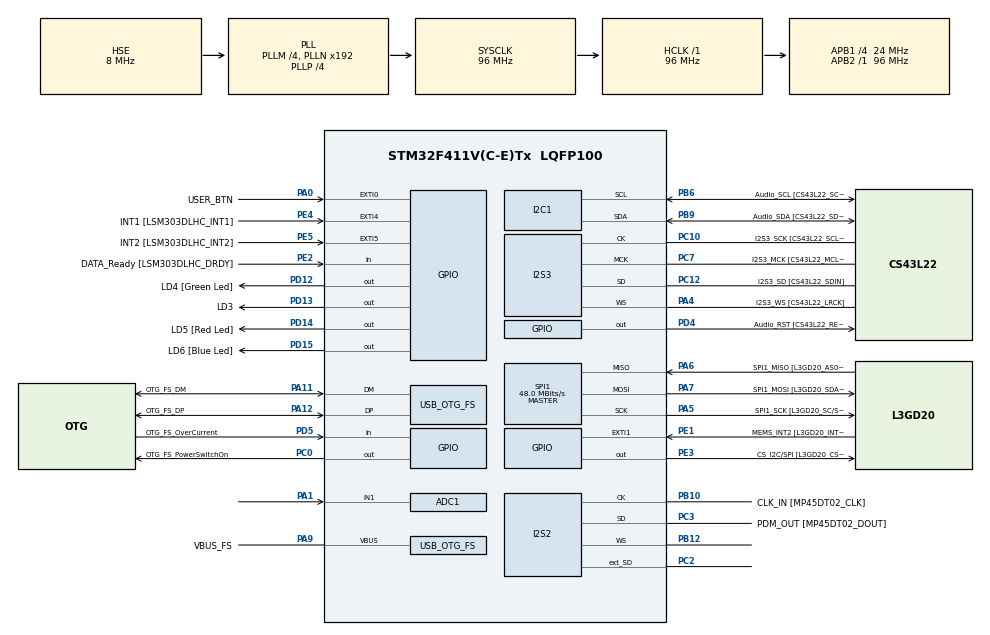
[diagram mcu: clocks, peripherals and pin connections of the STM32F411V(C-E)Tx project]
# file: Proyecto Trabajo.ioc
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ADC1.Channel-0\#ChannelRegularConversion=ADC_CHANNEL_1
ADC1.NbrOfConversionFlag=1
ADC1.Rank-0\#ChannelRegularConversion=1
ADC1.SamplingTime-0\#ChannelRegularConversion=ADC_SAMPLETIME_3CYCLES
ADC1.master=1
Dma.Request0=SPI3_TX
Dma.SPI3_TX.0.Direction=DMA_MEMORY_TO_PERIPH
Dma.SPI3_TX.0.FIFOMode=DMA_FIFOMODE_ENABLE
Dma.SPI3_TX.0.FIFOThreshold=DMA_FIFO_THRESHOLD_FULL
Dma.SPI3_TX.0.Instance=DMA1_Stream5
Dma.SPI3_TX.0.MemBurst=DMA_MBURST_SINGLE
Dma.SPI3_TX.0.MemDataAlignment=DMA_MDATAALIGN_HALFWORD
Dma.SPI3_TX.0.MemInc=DMA_MINC_ENABLE
Dma.SPI3_TX.0.Mode=DMA_CIRCULAR
Dma.SPI3_TX.0.PeriphBurst=DMA_PBURST_SINGLE
Dma.SPI3_TX.0.PeriphDataAlignment=DMA_PDATAALIGN_HALFWORD
Dma.SPI3_TX.0.PeriphInc=DMA_PINC_DISABLE
Dma.SPI3_TX.0.Priority=DMA_PRIORITY_LOW
I2C1.I2C_Mode=I2C_Fast
I2S2.AudioFreq=I2S_AUDIOFREQ_96K
I2S2.ErrorAudioFreq=0.15 %
I2S2.FullDuplexMode=I2S_FULLDUPLEXMODE_ENABLE
I2S2.Instance=SPI$Index
I2S2.RealAudioFreq=96.153 KHz
I2S2.VirtualMode=I2S_MODE_MASTER
I2S3.AudioFreq=I2S_AUDIOFREQ_48K
I2S3.ErrorAudioFreq=0.15 %
I2S3.FullDuplexMode=I2S_FULLDUPLEXMODE_DISABLE
I2S3.Instance=SPI$Index
I2S3.RealAudioFreq=48.076 KHz
I2S3.VirtualMode=I2S_MODE_MASTER
Mcu.Family=STM32F4
Mcu.Name=STM32F411V(C-E)Tx
Mcu.Package=LQFP100
NVIC.DMA1_Stream5_IRQn=true\:0\:0\:false\:false\:true\:false\:true\:true
NVIC.EXTI0_IRQn=true\:0\:0\:false\:false\:true\:true\:true\:true
NVIC.OTG_FS_IRQn=true\:0\:0\:false\:false\:true\:true\:true\:true
NVIC.PriorityGroup=NVIC_PRIORITYGROUP_0
NVIC.TIM1_BRK_TIM9_IRQn=true\:0\:0\:false\:false\:true\:true\:true\:true
NVIC.TIM1_CC_IRQn=true\:0\:0\:false\:false\:true\:true\:true\:true
NVIC.TIM1_TRG_COM_TIM11_IRQn=true\:0\:0\:false\:false\:true\:true\:true\:true
NVIC.TIM1_UP_TIM10_IRQn=true\:0\:0\:false\:false\:true\:true\:true\:true
PA0-WKUP.GPIO_Label=USER_BTN
PA0-WKUP.GPIO_ModeDefaultEXTI=GPIO_MODE_IT_RISING
PA0-WKUP.Signal=GPXTI0
PA1.Signal=ADCx_IN1
PA10.GPIO_Label=OTG_FS_ID
PA10.Signal=USB_OTG_FS_ID
PA11.GPIO_Label=OTG_FS_DM
PA11.Mode=Host_Only
PA11.Signal=USB_OTG_FS_DM
PA12.GPIO_Label=OTG_FS_DP
PA12.Mode=Host_Only
PA12.Signal=USB_OTG_FS_DP
PA13.GPIO_Label=SWDIO
PA13.Mode=Serial_Wire
PA13.Signal=SYS_JTMS-SWDIO
PA14.GPIO_Label=SWCLK
PA14.Mode=Serial_Wire
PA14.Signal=SYS_JTCK-SWCLK
PA4.GPIO_Label=I2S3_WS [CS43L22_LRCK]
PA4.GPIO_Mode=GPIO_MODE_AF_PP
PA4.GPIO_PuPd=GPIO_NOPULL
PA4.GPIO_Speed=GPIO_SPEED_FREQ_LOW
PA4.Mode=Half_Duplex_Master
PA4.Signal=I2S3_WS
PA5.GPIO_Label=SPI1_SCK [L3GD20_SC/SPC]
PA5.Mode=Full_Duplex_Master
PA5.Signal=SPI1_SCK
PA6.GPIO_Label=SPI1_MISO [L3GD20_AS0/SDO]
PA6.Mode=Full_Duplex_Master
PA6.Signal=SPI1_MISO
PA7.GPIO_Label=SPI1_MOSI [L3GD20_SDA/SDI/SDO]
PA7.Mode=Full_Duplex_Master
PA7.Signal=SPI1_MOSI
PA9.GPIO_Label=VBUS_FS
PA9.Mode=Activate_VBUS
PA9.Signal=USB_OTG_FS_VBUS
PB10.GPIO_Label=CLK_IN [MP45DT02_CLK]
PB10.Mode=Full_Duplex_Master
PB10.Signal=I2S2_CK
PB12.Mode=Full_Duplex_Master
PB12.Signal=I2S2_WS
PB3.GPIO_Label=SWO
PB3.Signal=SYS_JTDO-SWO
PB6.GPIO_Label=Audio_SCL [CS43L22_SCL]
PB6.GPIO_Mode=GPIO_MODE_AF_OD
PB6.GPIO_Pu=GPIO_PULLUP
PB6.GPIO_PuPd=GPIO_NOPULL
PB6.GPIO_Speed=GPIO_SPEED_FREQ_LOW
PB6.Mode=I2C
PB6.Signal=I2C1_SCL
PB9.GPIO_Label=Audio_SDA [CS43L22_SDA]
PB9.GPIO_Mode=GPIO_MODE_AF_OD
PB9.GPIO_Pu=GPIO_PULLUP
PB9.GPIO_PuPd=GPIO_NOPULL
PB9.GPIO_Speed=GPIO_SPEED_FREQ_LOW
PB9.Mode=I2C
PB9.Signal=I2C1_SDA
PC0.GPIO_Label=OTG_FS_PowerSwitchOn
PC0.PinState=GPIO_PIN_SET
PC0.Signal=GPIO_Output
PC10.GPIO_Label=I2S3_SCK [CS43L22_SCLK]
PC10.GPIO_Mode=GPIO_MODE_AF_PP
PC10.GPIO_PuPd=GPIO_NOPULL
PC10.GPIO_Speed=GPIO_SPEED_FREQ_LOW
PC10.Mode=Half_Duplex_Master
PC10.Signal=I2S3_CK
PC12.GPIO_Label=I2S3_SD [CS43L22_SDIN]
PC12.GPIO_Mode=GPIO_MODE_AF_PP
PC12.GPIO_PuPd=GPIO_NOPULL
PC12.GPIO_Speed=GPIO_SPEED_FREQ_LOW
PC12.Mode=Half_Duplex_Master
PC12.Signal=I2S3_SD
PC14-OSC32_IN.GPIO_Label=PC14-OSC32_IN
PC14-OSC32_IN.Signal=RCC_OSC32_IN
PC15-OSC32_OUT.GPIO_Label=PC15-OSC32_OUT
PC15-OSC32_OUT.Signal=RCC_OSC32_OUT
PC2.Mode=Full_Duplex_Master
PC2.Signal=I2S2_ext_SD
PC3.GPIO_Label=PDM_OUT [MP45DT02_DOUT]
PC3.Mode=Full_Duplex_Master
PC3.Signal=I2S2_SD
PC7.GPIO_Label=I2S3_MCK [CS43L22_MCLK]
PC7.GPIO_Mode=GPIO_MODE_AF_PP
PC7.GPIO_PuPd=GPIO_NOPULL
PC7.GPIO_Speed=GPIO_SPEED_FREQ_LOW
PC7.Mode=Master_Clock_Activated
PC7.Signal=I2S3_MCK
PD12.GPIO_Label=LD4 [Green Led]
PD12.GPIO_PuPd=GPIO_NOPULL
PD12.GPIO_Speed=GPIO_SPEED_FREQ_LOW
PD12.Signal=GPIO_Output
PD13.GPIO_Label=LD3
PD13.GPIO_PuPd=GPIO_NOPULL
PD13.GPIO_Speed=GPIO_SPEED_FREQ_LOW
PD13.Signal=GPIO_Output
PD14.GPIO_Label=LD5 [Red Led]
PD14.GPIO_PuPd=GPIO_NOPULL
PD14.GPIO_Speed=GPIO_SPEED_FREQ_LOW
PD14.Signal=GPIO_Output
PD15.GPIO_Label=LD6 [Blue Led]
PD15.GPIO_PuPd=GPIO_NOPULL
PD15.GPIO_Speed=GPIO_SPEED_FREQ_LOW
PD15.Signal=GPIO_Output
PD4.GPIO_Label=Audio_RST [CS43L22_RESET]
PD4.Signal=GPIO_Output
PD5.GPIO_Label=OTG_FS_OverCurrent
PD5.Signal=GPIO_Input
PE1.GPIO_Label=MEMS_INT2 [L3GD20_INT2]
PE1.GPIO_ModeDefaultEXTI=GPIO_MODE_EVT_RISING
PE1.Signal=GPXTI1
PE2.GPIO_Label=DATA_Ready [LSM303DLHC_DRDY]
PE2.Signal=GPIO_Input
PE3.GPIO_Label=CS_I2C/SPI [L3GD20_CS_I2C/SPI]
PE3.Signal=GPIO_Output
PE4.GPIO_Label=INT1 [LSM303DLHC_INT1]
PE4.GPIO_ModeDefaultEXTI=GPIO_MODE_EVT_RISING
PE4.Signal=GPXTI4
PE5.GPIO_Label=INT2 [LSM303DLHC_INT2]
PE5.GPIO_ModeDefaultEXTI=GPIO_MODE_EVT_RISING
PE5.Signal=GPXTI5
PH0\ -\ OSC_IN.GPIO_Label=PH0-OSC_IN
PH0\ -\ OSC_IN.Mode=HSE-External-Oscillator
PH0\ -\ OSC_IN.Signal=RCC_OSC_IN
PH1\ -\ OSC_OUT.GPIO_Label=PH1-OSC_OUT
PH1\ -\ OSC_OUT.Mode=HSE-External-Oscillator
PH1\ -\ OSC_OUT.Signal=RCC_OSC_OUT
ProjectManager.HeapSize=0x200
ProjectManager.StackSize=0x400
ProjectManager.TargetToolchain=STM32CubeIDE
RCC.48MHZClocksFreq_Value=48000000
RCC.AHBFreq_Value=96000000
RCC.APB1CLKDivider=RCC_HCLK_DIV4
RCC.APB1Freq_Value=24000000
RCC.APB1TimFreq_Value=48000000
RCC.APB2Freq_Value=96000000
RCC.APB2TimFreq_Value=96000000
RCC.CortexFreq_Value=96000000
RCC.HCLKFreq_Value=96000000
RCC.HSE_VALUE=8000000
RCC.HSI_VALUE=16000000
RCC.LSE_VALUE=32768
RCC.PLLI2SM=5
RCC.PLLI2SN=200
RCC.PLLM=4
RCC.PLLP=RCC_PLLP_DIV4
RCC.PLLQ=8
RCC.SYSCLKFreq_VALUE=96000000
RCC.SYSCLKSource=RCC_SYSCLKSOURCE_PLLCLK
RCC.VCOOutputFreq_Value=384000000
SH.ADCx_IN1.0=ADC1_IN1,IN1
SPI1.BaudRatePrescaler=SPI_BAUDRATEPRESCALER_2
SPI1.CalculateBaudRate=48.0 MBits/s
SPI1.Direction=SPI_DIRECTION_2LINES
SPI1.Mode=SPI_MODE_MASTER
SPI1.VirtualType=VM_MASTER
TIM1.Period=50
TIM1.Prescaler=32000
USB_HOST.BSP.number=1
USB_HOST.USBH_HandleTypeDef=hUsbHostFS
USB_HOST.VirtualModeFS=Msc
USB_HOST0.BSP.STBoard=false
USB_HOST0.BSP.api=Unknown
USB_HOST0.BSP.instance=PC0
USB_HOST0.BSP.ip=GPIO
USB_HOST0.BSP.mode=Output
USB_HOST0.BSP.name=Drive_VBUS_FS
USB_HOST0.BSP.solution=PC0
USB_OTG_FS.VirtualMode=Host_Only
USB_OTG_FS.phy_itface=HCD_PHY_EMBEDDED
VP_CRC_VS_CRC.Mode=CRC_Activate
VP_FATFS_VS_USB.Mode=USB
VP_TIM1_VS_ClockSourceINT.Mode=Internal
VP_USB_HOST_VS_USB_HOST_MSC_FS.Mode=MSC_FS
board=STM32F411E-DISCO

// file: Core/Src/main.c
/* USER CODE BEGIN Header */
/**
  ******************************************************************************
  * @file           : main.c
  * @brief          : Main program body
  ******************************************************************************
  * @attention
  *
  * Copyright (c) 2024 STMicroelectronics.
  * All rights reserved.
  *
  * This software is licensed under terms that can be found in the LICENSE file
  * in the root directory of this software component.
  * If no LICENSE file comes with this software, it is provided AS-IS.
  *
  ******************************************************************************
  */
/* USER CODE END Header */
#include "main.h"
#include "fatfs.h"
#include "usb_host.h"

/* USER CODE BEGIN Includes */
#include <FileSystem.h>
//#include <player.h>
#include <volume.h>
#include <WavPlayer.h>
#include "stdbool.h"
/* USER CODE END Includes */

/* USER CODE BEGIN PTD */
typedef enum
{
    BSP, //boton sin pulsar
    BP, //boton pulsado
    BS  //boton soltado
} ButtonState;

typedef enum
{
  APPST_NOMEDIA,  /* No pendrive connected or can't read or no MP3 */
  APPST_PAUSED,   /* Pendrive connected and no error */
  APPST_PLAYING   /* Playing song and no error */
} AppState;
/* USER CODE END PTD */

ADC_HandleTypeDef hadc1;

CRC_HandleTypeDef hcrc;

I2C_HandleTypeDef hi2c1;

I2S_HandleTypeDef hi2s2;
I2S_HandleTypeDef hi2s3;
DMA_HandleTypeDef hdma_spi3_tx;

SPI_HandleTypeDef hspi1;

TIM_HandleTypeDef htim1;

/* USER CODE BEGIN PV */
static volatile uint32_t lastButtonPressTime;
static volatile bool usrBtnPressed;

static AppState appState;

static uint16_t volume;
static ButtonState buttonState = BSP;

extern USBH_HandleTypeDef hUsbHostFS;

WavHeader header;

/* USER CODE END PV */

void SystemClock_Config(void);
void PeriphCommonClock_Config(void);
static void MX_GPIO_Init(void);
static void MX_DMA_Init(void);
static void MX_I2C1_Init(void);
static void MX_I2S2_Init(void);
static void MX_I2S3_Init(void);
static void MX_SPI1_Init(void);
static void MX_TIM1_Init(void);
static void MX_ADC1_Init(void);
static void MX_CRC_Init(void);
void MX_USB_HOST_Process(void);

/* USER CODE BEGIN PFP */
void APP_launchNextMP3(bool restart);
/* USER CODE END PFP */

/* USER CODE BEGIN 0 */
void HAL_GPIO_EXTI_Callback(uint16_t GPIO_Pin)
{
  if (GPIO_Pin != USER_BTN_Pin)
    return;  /* Wrong pin */

  uint32_t currentTime = HAL_GetTick();
  if (currentTime >= lastButtonPressTime + 500)
  {
    lastButtonPressTime = currentTime;
    usrBtnPressed = 1;
  }
}

/*
 * Called from usb_host.c:119 when pendrive connected & ready
 */
void usbMediaConnectedCallback(void)
{
  FS_mount();
  if (FS_getStatus() == FR_OK)
  {
    appState = APPST_PAUSED;
    HAL_GPIO_WritePin(LD4_GPIO_Port, LD4_Pin, GPIO_PIN_SET);
    changeAppState(appState);
  }
  else
  {
    appState = APPST_NOMEDIA;
    HAL_GPIO_WritePin(LD5_GPIO_Port, LD5_Pin, GPIO_PIN_SET);
    changeAppState(appState);
  }
}

/*
 * Called from usb_host.c:114 when pendrive disconnected
 */
void usbMediaDisconnectedCallback(void)
{
  appState = APPST_NOMEDIA;
  PLAYER_stop();
  FS_unmount();
  HAL_GPIO_WritePin(LD4_GPIO_Port, LD4_Pin, GPIO_PIN_RESET);
  HAL_GPIO_WritePin(LD5_GPIO_Port, LD5_Pin, GPIO_PIN_RESET);
  changeAppState(appState);
}

/*
 * Called from player.c:59 when song finished (no more data or error) & file closed
 */
void playerFinishedCallback(void)
{
  if (appState != APPST_PLAYING)
    Error_Handler();

  APP_launchNextMP3(false);
}

void APP_launchNextMP3(bool restart)
{
  const FILINFO *info = FS_nextMP3(restart);
  if (!info)
  {
    appState = APPST_NOMEDIA;
    HAL_GPIO_WritePin(LD4_GPIO_Port, LD4_Pin, GPIO_PIN_RESET);
    HAL_GPIO_WritePin(LD5_GPIO_Port, LD5_Pin, GPIO_PIN_SET);
    return;
  }

  /* TODO: print song info to OLED, añadir aparte del nombre los segundos o algo asi */
  ReadWavHeader(info->fname, &header);
  //WavAllocateMemory();
  changeSongInfo(info);
  appState = APPST_PLAYING;
}
/* USER CODE END 0 */

int main(void)
{

  /* MCU Configuration--------------------------------------------------------*/

  /* Reset of all peripherals, Initializes the Flash interface and the Systick. */
  HAL_Init();

  /* USER CODE BEGIN Init */
  usrBtnPressed = false;
  lastButtonPressTime = HAL_GetTick();
  appState = APPST_NOMEDIA;
  /* USER CODE END Init */

  /* Configure the system clock */
  SystemClock_Config();

/* Configure the peripherals common clocks */
  PeriphCommonClock_Config();

  /* Initialize all configured peripherals */
  MX_GPIO_Init();
  MX_DMA_Init();
  MX_I2C1_Init();
  MX_I2S2_Init();
  MX_I2S3_Init();
  MX_SPI1_Init();
  MX_USB_HOST_Init();
  MX_FATFS_Init();
  MX_TIM1_Init();
  MX_ADC1_Init();
  MX_CRC_Init();
  /* USER CODE BEGIN 2 */
  WavPLAYER_init(&hi2c1, &hi2s3);
  oled_Init();
  /* USER CODE END 2 */

  /* Infinite loop */
  while (1)
  {
    MX_USB_HOST_Process();

    /* USER CODE BEGIN 3 */
    if(hUsbHostFS.gState == HOST_CLASS)
    {
    	if (usrBtnPressed)
    	{
    		usrBtnPressed = false;
    		WavPlayerStop();
    		switch (appState)
    		{
    		case APPST_NOMEDIA:
    			break;

    		case APPST_PAUSED:
    			APP_launchNextMP3(true);
    			break;

    		case APPST_PLAYING:
    			APP_launchNextMP3(false);
    			break;

    		default:
    			Error_Handler();
    		}
    	}
    	if(appState == APPST_PLAYING)
    	{
    	WavPlayerPlay();
    	}
    	volume = changeVolume(&hadc1, &hi2c1);
    	WavPLAYER_setVolume(volume);
    	LCDUpdate();
    }
  }
  /* USER CODE END 3 */
}

void SystemClock_Config(void)
{
  RCC_OscInitTypeDef RCC_OscInitStruct = {0};
  RCC_ClkInitTypeDef RCC_ClkInitStruct = {0};

  /** Configure the main internal regulator output voltage
  */
  __HAL_RCC_PWR_CLK_ENABLE();
  __HAL_PWR_VOLTAGESCALING_CONFIG(PWR_REGULATOR_VOLTAGE_SCALE1);

  /** Initializes the RCC Oscillators according to the specified parameters
  * in the RCC_OscInitTypeDef structure.
  */
  RCC_OscInitStruct.OscillatorType = RCC_OSCILLATORTYPE_HSE;
  RCC_OscInitStruct.HSEState = RCC_HSE_ON;
  RCC_OscInitStruct.PLL.PLLState = RCC_PLL_ON;
  RCC_OscInitStruct.PLL.PLLSource = RCC_PLLSOURCE_HSE;
  RCC_OscInitStruct.PLL.PLLM = 4;
  RCC_OscInitStruct.PLL.PLLN = 192;
  RCC_OscInitStruct.PLL.PLLP = RCC_PLLP_DIV4;
  RCC_OscInitStruct.PLL.PLLQ = 8;
  if (HAL_RCC_OscConfig(&RCC_OscInitStruct) != HAL_OK)
  {
    Error_Handler();
  }

  /** Initializes the CPU, AHB and APB buses clocks
  */
  RCC_ClkInitStruct.ClockType = RCC_CLOCKTYPE_HCLK|RCC_CLOCKTYPE_SYSCLK
                              |RCC_CLOCKTYPE_PCLK1|RCC_CLOCKTYPE_PCLK2;
  RCC_ClkInitStruct.SYSCLKSource = RCC_SYSCLKSOURCE_PLLCLK;
  RCC_ClkInitStruct.AHBCLKDivider = RCC_SYSCLK_DIV1;
  RCC_ClkInitStruct.APB1CLKDivider = RCC_HCLK_DIV4;
  RCC_ClkInitStruct.APB2CLKDivider = RCC_HCLK_DIV1;

  if (HAL_RCC_ClockConfig(&RCC_ClkInitStruct, FLASH_LATENCY_3) != HAL_OK)
  {
    Error_Handler();
  }
}

void PeriphCommonClock_Config(void)
{
  RCC_PeriphCLKInitTypeDef PeriphClkInitStruct = {0};

  /** Initializes the peripherals clock
  */
  PeriphClkInitStruct.PeriphClockSelection = RCC_PERIPHCLK_I2S;
  PeriphClkInitStruct.PLLI2S.PLLI2SN = 200;
  PeriphClkInitStruct.PLLI2S.PLLI2SM = 5;
  PeriphClkInitStruct.PLLI2S.PLLI2SR = 2;
  if (HAL_RCCEx_PeriphCLKConfig(&PeriphClkInitStruct) != HAL_OK)
  {
    Error_Handler();
  }
}

static void MX_ADC1_Init(void)
{

  ADC_ChannelConfTypeDef sConfig = {0};

  /** Configure the global features of the ADC (Clock, Resolution, Data Alignment and number of conversion)
  */
  hadc1.Instance = ADC1;
  hadc1.Init.ClockPrescaler = ADC_CLOCK_SYNC_PCLK_DIV4;
  hadc1.Init.Resolution = ADC_RESOLUTION_12B;
  hadc1.Init.ScanConvMode = DISABLE;
  hadc1.Init.ContinuousConvMode = DISABLE;
  hadc1.Init.DiscontinuousConvMode = DISABLE;
  hadc1.Init.ExternalTrigConvEdge = ADC_EXTERNALTRIGCONVEDGE_NONE;
  hadc1.Init.ExternalTrigConv = ADC_SOFTWARE_START;
  hadc1.Init.DataAlign = ADC_DATAALIGN_RIGHT;
  hadc1.Init.NbrOfConversion = 1;
  hadc1.Init.DMAContinuousRequests = DISABLE;
  hadc1.Init.EOCSelection = ADC_EOC_SINGLE_CONV;
  if (HAL_ADC_Init(&hadc1) != HAL_OK)
  {
    Error_Handler();
  }

  /** Configure for the selected ADC regular channel its corresponding rank in the sequencer and its sample time.
  */
  sConfig.Channel = ADC_CHANNEL_1;
  sConfig.Rank = 1;
  sConfig.SamplingTime = ADC_SAMPLETIME_3CYCLES;
  if (HAL_ADC_ConfigChannel(&hadc1, &sConfig) != HAL_OK)
  {
    Error_Handler();
  }

}

static void MX_CRC_Init(void)
{

  hcrc.Instance = CRC;
  if (HAL_CRC_Init(&hcrc) != HAL_OK)
  {
    Error_Handler();
  }

}

static void MX_I2C1_Init(void)
{

  hi2c1.Instance = I2C1;
  hi2c1.Init.ClockSpeed = 400000;
  hi2c1.Init.DutyCycle = I2C_DUTYCYCLE_2;
  hi2c1.Init.OwnAddress1 = 0;
  hi2c1.Init.AddressingMode = I2C_ADDRESSINGMODE_7BIT;
  hi2c1.Init.DualAddressMode = I2C_DUALADDRESS_DISABLE;
  hi2c1.Init.OwnAddress2 = 0;
  hi2c1.Init.GeneralCallMode = I2C_GENERALCALL_DISABLE;
  hi2c1.Init.NoStretchMode = I2C_NOSTRETCH_DISABLE;
  if (HAL_I2C_Init(&hi2c1) != HAL_OK)
  {
    Error_Handler();
  }

}

static void MX_I2S2_Init(void)
{

  hi2s2.Instance = SPI2;
  hi2s2.Init.Mode = I2S_MODE_MASTER_TX;
  hi2s2.Init.Standard = I2S_STANDARD_PHILIPS;
  hi2s2.Init.DataFormat = I2S_DATAFORMAT_16B;
  hi2s2.Init.MCLKOutput = I2S_MCLKOUTPUT_DISABLE;
  hi2s2.Init.AudioFreq = I2S_AUDIOFREQ_96K;
  hi2s2.Init.CPOL = I2S_CPOL_LOW;
  hi2s2.Init.ClockSource = I2S_CLOCK_PLL;
  hi2s2.Init.FullDuplexMode = I2S_FULLDUPLEXMODE_ENABLE;
  if (HAL_I2S_Init(&hi2s2) != HAL_OK)
  {
    Error_Handler();
  }

}

static void MX_I2S3_Init(void)
{

  hi2s3.Instance = SPI3;
  hi2s3.Init.Mode = I2S_MODE_MASTER_TX;
  hi2s3.Init.Standard = I2S_STANDARD_PHILIPS;
  hi2s3.Init.DataFormat = I2S_DATAFORMAT_16B;
  hi2s3.Init.MCLKOutput = I2S_MCLKOUTPUT_ENABLE;
  hi2s3.Init.AudioFreq = I2S_AUDIOFREQ_48K;
  hi2s3.Init.CPOL = I2S_CPOL_LOW;
  hi2s3.Init.ClockSource = I2S_CLOCK_PLL;
  hi2s3.Init.FullDuplexMode = I2S_FULLDUPLEXMODE_DISABLE;
  if (HAL_I2S_Init(&hi2s3) != HAL_OK)
  {
    Error_Handler();
  }

}

static void MX_SPI1_Init(void)
{

  /* SPI1 parameter configuration*/
  hspi1.Instance = SPI1;
  hspi1.Init.Mode = SPI_MODE_MASTER;
  hspi1.Init.Direction = SPI_DIRECTION_2LINES;
  hspi1.Init.DataSize = SPI_DATASIZE_8BIT;
  hspi1.Init.CLKPolarity = SPI_POLARITY_LOW;
  hspi1.Init.CLKPhase = SPI_PHASE_1EDGE;
  hspi1.Init.NSS = SPI_NSS_SOFT;
  hspi1.Init.BaudRatePrescaler = SPI_BAUDRATEPRESCALER_2;
  hspi1.Init.FirstBit = SPI_FIRSTBIT_MSB;
  hspi1.Init.TIMode = SPI_TIMODE_DISABLE;
  hspi1.Init.CRCCalculation = SPI_CRCCALCULATION_DISABLE;
  hspi1.Init.CRCPolynomial = 10;
  if (HAL_SPI_Init(&hspi1) != HAL_OK)
  {
    Error_Handler();
  }

}

static void MX_TIM1_Init(void)
{

  TIM_ClockConfigTypeDef sClockSourceConfig = {0};
  TIM_MasterConfigTypeDef sMasterConfig = {0};

  htim1.Instance = TIM1;
  htim1.Init.Prescaler = 32000;
  htim1.Init.CounterMode = TIM_COUNTERMODE_UP;
  htim1.Init.Period = 50;
  htim1.Init.ClockDivision = TIM_CLOCKDIVISION_DIV1;
  htim1.Init.RepetitionCounter = 0;
  htim1.Init.AutoReloadPreload = TIM_AUTORELOAD_PRELOAD_DISABLE;
  if (HAL_TIM_Base_Init(&htim1) != HAL_OK)
  {
    Error_Handler();
  }
  sClockSourceConfig.ClockSource = TIM_CLOCKSOURCE_INTERNAL;
  if (HAL_TIM_ConfigClockSource(&htim1, &sClockSourceConfig) != HAL_OK)
  {
    Error_Handler();
  }
  sMasterConfig.MasterOutputTrigger = TIM_TRGO_RESET;
  sMasterConfig.MasterSlaveMode = TIM_MASTERSLAVEMODE_DISABLE;
  if (HAL_TIMEx_MasterConfigSynchronization(&htim1, &sMasterConfig) != HAL_OK)
  {
    Error_Handler();
  }

}

static void MX_DMA_Init(void)
{

  /* DMA controller clock enable */
  __HAL_RCC_DMA1_CLK_ENABLE();

  /* DMA interrupt init */
  /* DMA1_Stream5_IRQn interrupt configuration */
  HAL_NVIC_SetPriority(DMA1_Stream5_IRQn, 0, 0);
  HAL_NVIC_EnableIRQ(DMA1_Stream5_IRQn);

}

static void MX_GPIO_Init(void)
{
  GPIO_InitTypeDef GPIO_InitStruct = {0};

  /* GPIO Ports Clock Enable */
  __HAL_RCC_GPIOE_CLK_ENABLE();
  __HAL_RCC_GPIOC_CLK_ENABLE();
  __HAL_RCC_GPIOH_CLK_ENABLE();
  __HAL_RCC_GPIOA_CLK_ENABLE();
  __HAL_RCC_GPIOB_CLK_ENABLE();
  __HAL_RCC_GPIOD_CLK_ENABLE();

  /*Configure GPIO pin Output Level */
  HAL_GPIO_WritePin(CS_I2C_SPI_GPIO_Port, CS_I2C_SPI_Pin, GPIO_PIN_RESET);

  /*Configure GPIO pin Output Level */
  HAL_GPIO_WritePin(OTG_FS_PowerSwitchOn_GPIO_Port, OTG_FS_PowerSwitchOn_Pin, GPIO_PIN_SET);

  /*Configure GPIO pin Output Level */
  HAL_GPIO_WritePin(GPIOD, LD4_Pin|LD3_Pin|LD5_Pin|LD6_Pin
                          |Audio_RST_Pin, GPIO_PIN_RESET);

  /*Configure GPIO pin : DATA_Ready_Pin */
  GPIO_InitStruct.Pin = DATA_Ready_Pin;
  GPIO_InitStruct.Mode = GPIO_MODE_INPUT;
  GPIO_InitStruct.Pull = GPIO_NOPULL;
  HAL_GPIO_Init(DATA_Ready_GPIO_Port, &GPIO_InitStruct);

  /*Configure GPIO pin : CS_I2C_SPI_Pin */
  GPIO_InitStruct.Pin = CS_I2C_SPI_Pin;
  GPIO_InitStruct.Mode = GPIO_MODE_OUTPUT_PP;
  GPIO_InitStruct.Pull = GPIO_NOPULL;
  GPIO_InitStruct.Speed = GPIO_SPEED_FREQ_LOW;
  HAL_GPIO_Init(CS_I2C_SPI_GPIO_Port, &GPIO_InitStruct);

  /*Configure GPIO pins : INT1_Pin INT2_Pin MEMS_INT2_Pin */
  GPIO_InitStruct.Pin = INT1_Pin|INT2_Pin|MEMS_INT2_Pin;
  GPIO_InitStruct.Mode = GPIO_MODE_EVT_RISING;
  GPIO_InitStruct.Pull = GPIO_NOPULL;
  HAL_GPIO_Init(GPIOE, &GPIO_InitStruct);

  /*Configure GPIO pin : OTG_FS_PowerSwitchOn_Pin */
  GPIO_InitStruct.Pin = OTG_FS_PowerSwitchOn_Pin;
  GPIO_InitStruct.Mode = GPIO_MODE_OUTPUT_PP;
  GPIO_InitStruct.Pull = GPIO_NOPULL;
  GPIO_InitStruct.Speed = GPIO_SPEED_FREQ_LOW;
  HAL_GPIO_Init(OTG_FS_PowerSwitchOn_GPIO_Port, &GPIO_InitStruct);

  /*Configure GPIO pin : USER_BTN_Pin */
  GPIO_InitStruct.Pin = USER_BTN_Pin;
  GPIO_InitStruct.Mode = GPIO_MODE_IT_RISING;
  GPIO_InitStruct.Pull = GPIO_NOPULL;
  HAL_GPIO_Init(USER_BTN_GPIO_Port, &GPIO_InitStruct);

  /*Configure GPIO pins : LD4_Pin LD3_Pin LD5_Pin LD6_Pin
                           Audio_RST_Pin */
  GPIO_InitStruct.Pin = LD4_Pin|LD3_Pin|LD5_Pin|LD6_Pin
                          |Audio_RST_Pin;
  GPIO_InitStruct.Mode = GPIO_MODE_OUTPUT_PP;
  GPIO_InitStruct.Pull = GPIO_NOPULL;
  GPIO_InitStruct.Speed = GPIO_SPEED_FREQ_LOW;
  HAL_GPIO_Init(GPIOD, &GPIO_InitStruct);

  /*Configure GPIO pin : OTG_FS_OverCurrent_Pin */
  GPIO_InitStruct.Pin = OTG_FS_OverCurrent_Pin;
  GPIO_InitStruct.Mode = GPIO_MODE_INPUT;
  GPIO_InitStruct.Pull = GPIO_NOPULL;
  HAL_GPIO_Init(OTG_FS_OverCurrent_GPIO_Port, &GPIO_InitStruct);

  /* EXTI interrupt init*/
  HAL_NVIC_SetPriority(EXTI0_IRQn, 0, 0);
  HAL_NVIC_EnableIRQ(EXTI0_IRQn);

}

/* USER CODE BEGIN 4 */
/*void HAL_GPIO_EXTI_Callback(uint16_t GPIO_Pin)
{
	if(GPIO_Pin == GPIO_PIN_0)
	{
		GPIO_PinState buttonStateNow = HAL_GPIO_ReadPin(GPIOA, GPIO_PIN_0);
		HAL_TIM_Base_Start_IT(&htim1);
		if(buttonStateNow == GPIO_PIN_SET && buttonState == BSP)
		{
			buttonState = BP;
			buttonSong = 1;
		}
		if(buttonStateNow == GPIO_PIN_RESET && buttonState == BP)
		{
			buttonState = BS;
			buttonSong = 0;
		}
		HAL_GPIO_WritePin(GPIOD, GPIO_PIN_15, GPIO_PIN_SET);
	}
	else
	{
		__NOP();
	}
}*/
/* USER CODE END 4 */

void Error_Handler(void)
{
  __disable_irq();
  while (1)
  {
  }
}
